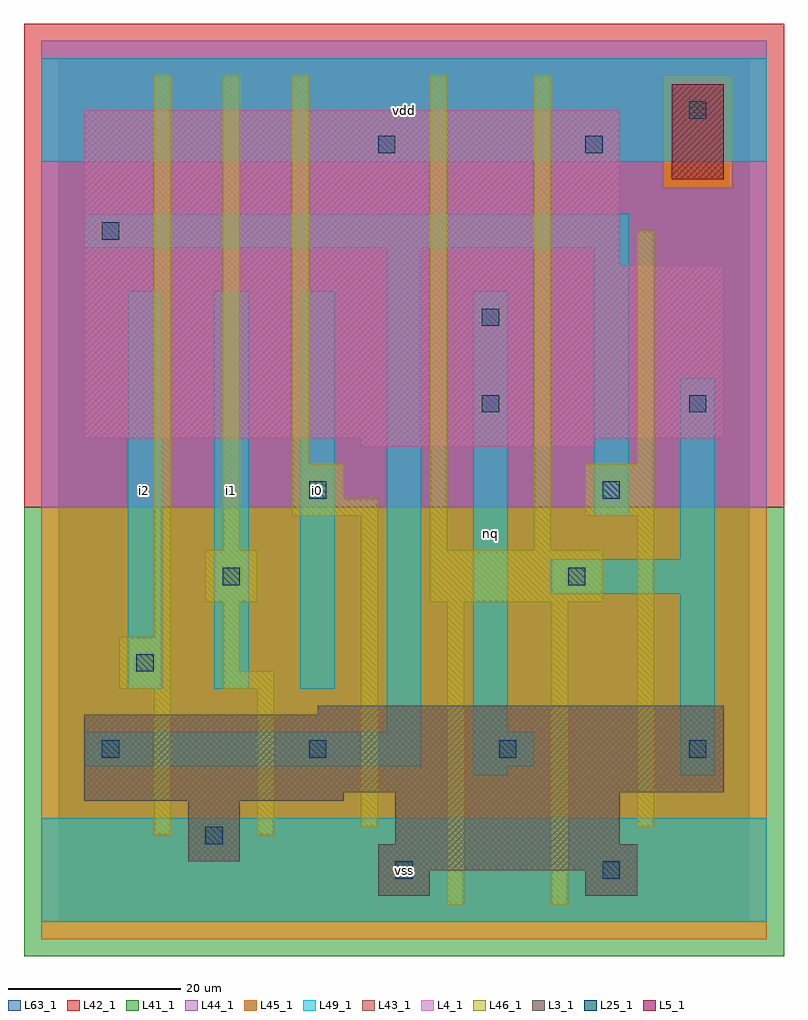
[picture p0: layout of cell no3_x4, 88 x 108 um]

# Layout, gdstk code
import gdstk
lib = gdstk.Library(unit=1e-6, precision=1e-09)
def R(c, l, rs):  # rectangles x0, y0, x1, y1
    for r in rs: c.add(gdstk.rectangle(r[:2], r[2:], *l))
def A(c, l, x, y, w, h, nx, ny, dx, dy):  # array of equal rectangles
    R(c, l, [(x+i*dx, y+j*dy, x+i*dx+w, y+j*dy+h) for i in range(nx) for j in range(ny)])
L3_1 = (3, 1)
L4_1 = (4, 1)
L5_1 = (5, 1)
L25_1 = (25, 1)
L41_1 = (41, 1)
L42_1 = (42, 1)
L43_1 = (43, 1)
L44_1 = (44, 1)
L45_1 = (45, 1)
L46_1 = (46, 1)
L49_1 = (49, 1)
L63_1 = (63, 1)

no3_x4 = lib.new_cell('no3_x4')
R(no3_x4, L3_1, [(37,3,43,6), (61,3,67,6), (37,6,67,9), (15,7,21,14), (39,9,65,15), (3,14,33,15), (3,15,77,24), (30,24,77,25)])
R(no3_x4, L4_1, [(35,55,62,56), (3,56,77,76), (3,76,65,94)])
R(no3_x4, L5_1, [(71,86,77,97)])
A(no3_x4, L25_1, 29, 19, 2, 2, 3, 1, 22, 0)
R(no3_x4, L25_1, [(39,5,41,7), (63,5,65,7), (17,9,19,11), (5,19,7,21), (9,29,11,31), (19,39,21,41), (59,39,61,41), (29,49,31,51), (63,49,65,51), (49,59,51,61), (73,59,75,61), (49,69,51,71), (5,79,7,81), (37,89,39,91), (61,89,63,91), (73,93,75,95)])
R(no3_x4, L41_1, [(-4,-4,84,48)])
R(no3_x4, L42_1, [(-4,48,84,104)])
R(no3_x4, L43_1, [(37,3,43,6), (61,3,67,6), (37,6,67,9), (15,7,21,14), (39,9,65,15), (3,14,33,15), (3,15,77,24), (30,24,77,25), (35,55,62,56), (3,56,77,76), (3,76,65,94), (71,86,77,97)])
R(no3_x4, L44_1, [(-2,48,82,85), (-2,85,70,98), (78,85,82,98), (-2,98,82,102)])
R(no3_x4, L45_1, [(-2,-2,82,48), (70,85,78,98)])
R(no3_x4, L46_1, [(45,2,47,37), (57,2,59,37), (11,10,13,27), (23,10,25,27), (35,11,37,47), (67,11,69,47), (7,27,13,33), (19,27,25,29), (19,29,21,37), (11,33,13,98), (17,37,23,43), (43,37,63,43), (19,43,21,98), (43,43,45,98), (55,43,57,98), (27,47,37,49), (61,47,69,53), (27,49,33,53), (27,53,29,98), (67,53,69,80)])
A(no3_x4, L49_1, 8, 27, 4, 46, 3, 1, 10, 0)
R(no3_x4, L49_1, [(-2,0,82,12), (48,17,52,18), (72,17,76,38), (3,18,42,22), (48,18,55,22), (38,22,42,78), (48,22,52,73), (57,38,76,42), (72,42,76,63), (62,47,66,78), (3,78,66,82), (-2,88,82,100)])
R(no3_x4, L63_1, [(0,0,80,100)])
no3_x4.add(gdstk.Label('i2', (10,50), layer=49, texttype=1))
no3_x4.add(gdstk.Label('i0', (30,50), layer=49, texttype=1))
no3_x4.add(gdstk.Label('i1', (20,50), layer=49, texttype=1))
no3_x4.add(gdstk.Label('vss', (40,6), layer=49, texttype=1))
no3_x4.add(gdstk.Label('nq', (50,45), layer=49, texttype=1))
no3_x4.add(gdstk.Label('vdd', (40,94), layer=49, texttype=1))

lib.write_gds('no3_x4.gds')
